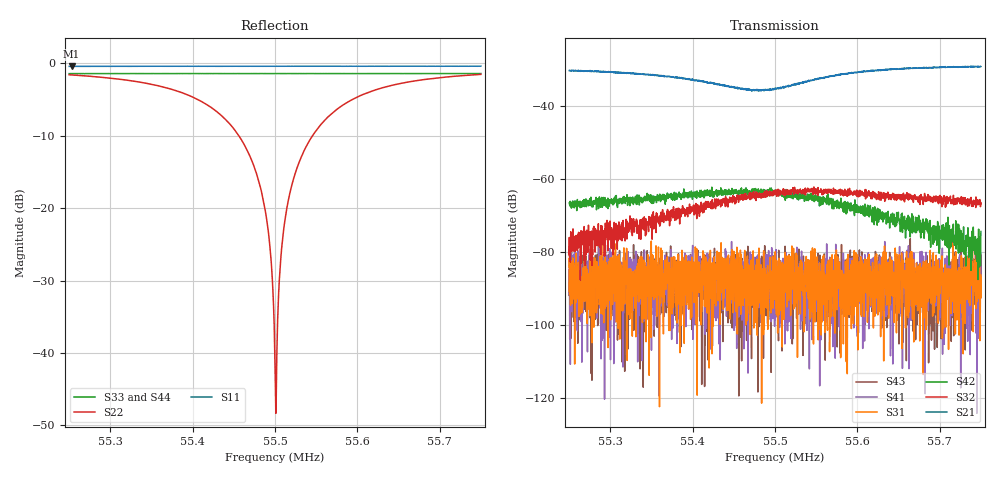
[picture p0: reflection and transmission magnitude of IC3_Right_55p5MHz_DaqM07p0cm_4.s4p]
#  HZ  S  DB  R  50.00
! Rohde & Schwarz Vector Network Analyzer
! Rohde-Schwarz,ZNB8-4Port,1311601044102961,2.82
! Created: UTC 2/13/2019, 1:57:32 PM
! freq[Hz]  db:S11  ang:S11  db:S12  ang:S12  db:S13  ang:S13  db:S14  ang:S14
!  db:S21  ang:S21  db:S22  ang:S22  db:S23  ang:S23  db:S24  ang:S24
!  db:S31  ang:S31  db:S32  ang:S32  db:S33  ang:S33  db:S34  ang:S34
!  db:S41  ang:S41  db:S42  ang:S42  db:S43  ang:S43  db:S44  ang:S44
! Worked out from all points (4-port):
!   2001 points, 55.25 MHz to 55.75 MHz, reference 50 ohm
!   strongest paths, dB at 55.25 MHz, 55.375 MHz, 55.5 MHz, 55.625 MHz, 55.75 MHz:
!     S21: -30.4, -32.2, -35.5, -30.3, -29.3
!     S32: -81.1, -70.2, -63.8, -64.9, -66.9
!     S42: -66.6, -64.4, -63.2, -70.6, -74.4
!     S31: -90.9, -92.5, -89.1, -85.5, -86.4
!     S41: -91.3, -86.2, -98.6, -88.2, -80.7
!     S43: -91.9, -87.1, -96.3, -90.2, -88.4
!   lowest |S11| = -0.4 dB at 55.253 MHz (marker M1), VSWR 41.63, Z = 2.12 + j43.8 ohm
!   |S11| at or under -10 dB: nowhere
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5.525e7  -0.41 97.5  -30.34 72.9  -89.19 -20.3  -90.47 52.8
         -30.41 72.4  -1.57 -134.0  -81.36 20.0  -65.73 -144.6
         -90.87 132.0  -81.07 -13.3  -1.42 24.7  -79.50 -169.3
         -91.32 -52.4  -66.64 -149.3  -91.91 165.2  -1.43 31.2
5.5253e7  -0.42 97.5  -30.32 72.4  -88.88 -62.4  -88.24 -110.1
          -30.42 72.3  -1.60 -134.4  -76.03 -1.6  -66.08 -147.9
          -86.40 161.4  -79.92 39.7  -1.42 24.6  -91.01 63.6
          -96.34 -64.1  -66.59 -155.7  -98.05 64.8  -1.43 31.2
5.54525e7  -0.39 93.7  -35.30 69.7  -83.24 126.2  -83.50 180.0
           -35.15 69.7  -9.41 173.0  -64.35 -27.7  -63.55 161.9
           -87.40 176.5  -66.63 -38.1  -1.41 22.2  -106.26 -62.9
           -89.54 -37.1  -63.33 162.2  -93.63 -120.2  -1.42 28.7
5.5501e7  -0.39 92.8  -35.42 90.9  -83.82 162.1  -85.63 -27.5
          -35.23 91.5  -48.32 -121.5  -64.24 -60.1  -63.82 141.9
          -95.42 120.2  -63.74 -59.5  -1.41 21.6  -92.62 98.7
          -88.69 -111.8  -63.43 141.3  -88.61 71.4  -1.42 28.1
5.5515e7  -0.39 92.5  -34.70 95.9  -84.84 -154.9  -83.32 -12.5
          -34.66 95.6  -19.62 -41.1  -63.33 -61.5  -64.22 126.9
          -85.18 53.9  -64.32 -66.7  -1.41 21.4  -86.69 123.9
          -90.88 22.0  -64.46 133.8  -85.13 120.3  -1.42 27.9
5.555025e7  -0.40 91.9  -32.70 101.0  -86.67 80.0  -82.65 -49.1
            -32.87 101.6  -9.22 -56.9  -63.24 -81.2  -64.63 119.0
            -93.19 18.0  -64.11 -76.7  -1.41 20.9  -90.59 -108.5
            -90.98 -53.0  -65.05 123.3  -84.90 48.8  -1.42 27.5
5.575e7  -0.39 88.3  -29.25 80.3  -88.07 175.6  -82.80 40.0
         -29.29 80.4  -1.52 -110.6  -65.66 -128.3  -78.46 69.5
         -86.39 43.3  -66.89 -137.2  -1.40 18.4  -89.79 157.5
         -80.70 -66.9  -74.45 80.3  -88.37 171.6  -1.42 25.0
